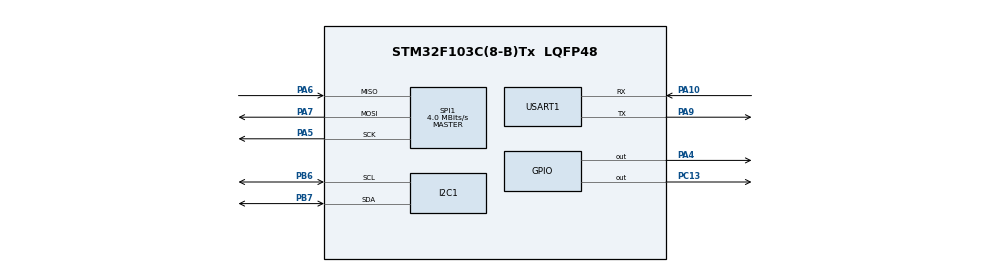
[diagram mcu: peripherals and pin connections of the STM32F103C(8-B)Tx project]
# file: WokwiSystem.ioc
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FREERTOS.Mutexes01=i2cmutex,Dynamic,NULL,Available
FREERTOS.Queues01=RawQueue,4,SensorRawData_t,0,Dynamic,NULL,NULL;DisplayQueue,2,DisplayData_t,0,Dynamic,NULL,NULL
FREERTOS.Tasks01=SensorTask,32,256,StartSensorTask,Default,NULL,Dynamic,NULL,NULL;ProcessingTask,24,256,StartProcessingTask,Default,NULL,Dynamic,NULL,NULL;DisplayTask,16,512,StartDisplayTask,Default,NULL,Dynamic,NULL,NULL
FREERTOS.configTOTAL_HEAP_SIZE=8192
FREERTOS.configCHECK_FOR_STACK_OVERFLOW=2
FREERTOS.configUSE_MALLOC_FAILED_HOOK=1
Mcu.Family=STM32F1
Mcu.Name=STM32F103C(8-B)Tx
Mcu.Package=LQFP48
NVIC.PriorityGroup=NVIC_PRIORITYGROUP_4
NVIC.TIM2_IRQn=true\:15\:0\:false\:false\:true\:false\:false\:true\:true
NVIC.TimeBase=TIM2_IRQn
NVIC.TimeBaseIP=TIM2
PA10.Mode=Asynchronous
PA10.Signal=USART1_RX
PA13.Mode=Serial_Wire
PA13.Signal=SYS_JTMS-SWDIO
PA14.Mode=Serial_Wire
PA14.Signal=SYS_JTCK-SWCLK
PA4.PinState=GPIO_PIN_SET
PA4.Signal=GPIO_Output
PA5.Mode=Full_Duplex_Master
PA5.Signal=SPI1_SCK
PA6.Mode=Full_Duplex_Master
PA6.Signal=SPI1_MISO
PA7.Mode=Full_Duplex_Master
PA7.Signal=SPI1_MOSI
PA9.Mode=Asynchronous
PA9.Signal=USART1_TX
PB6.Mode=I2C
PB6.Signal=I2C1_SCL
PB7.Mode=I2C
PB7.Signal=I2C1_SDA
PC13-TAMPER-RTC.PinState=GPIO_PIN_SET
PC13-TAMPER-RTC.Signal=GPIO_Output
ProjectManager.HeapSize=0x200
ProjectManager.StackSize=0x400
ProjectManager.TargetToolchain=CMake
RCC.APB1Freq_Value=8000000
RCC.APB2Freq_Value=8000000
SPI1.CalculateBaudRate=4.0 MBits/s
SPI1.Direction=SPI_DIRECTION_2LINES
SPI1.Mode=SPI_MODE_MASTER
SPI1.VirtualType=VM_MASTER
USART1.VirtualMode=VM_ASYNC
VP_FREERTOS_VS_CMSIS_V2.Mode=CMSIS_V2
VP_SYS_VS_tim2.Mode=TIM2
board=custom

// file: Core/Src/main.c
/* USER CODE BEGIN Header */
/**
  ******************************************************************************
  * @file           : main.c
  * @brief          : Main program body
  ******************************************************************************
  * @attention
  *
  * Copyright (c) 2026 STMicroelectronics.
  * All rights reserved.
  *
  * This software is licensed under terms that can be found in the LICENSE file
  * in the root directory of this software component.
  * If no LICENSE file comes with this software, it is provided AS-IS.
  *
  ******************************************************************************
  */
/* USER CODE END Header */
#include "main.h"
#include "cmsis_os.h"

/* USER CODE BEGIN Includes */
#include "app_tasks.h"
#include "app_types.h"
/* USER CODE END Includes */

/* USER CODE BEGIN PD */
/* WOKWI_ENABLED comes from CMake so the FreeRTOS port sees the same setting. */
/* USER CODE END PD */

I2C_HandleTypeDef hi2c1;

SPI_HandleTypeDef hspi1;

UART_HandleTypeDef huart1;

/* Definitions for SensorTask */
osThreadId_t SensorTaskHandle;
const osThreadAttr_t SensorTask_attributes = {
  .name = "SensorTask",
  .stack_size = 256 * 4,
  .priority = (osPriority_t) osPriorityAboveNormal,
};
/* Definitions for ProcessingTask */
osThreadId_t ProcessingTaskHandle;
const osThreadAttr_t ProcessingTask_attributes = {
  .name = "ProcessingTask",
  .stack_size = 256 * 4,
  .priority = (osPriority_t) osPriorityNormal,
};
/* Definitions for DisplayTask */
osThreadId_t DisplayTaskHandle;
const osThreadAttr_t DisplayTask_attributes = {
  .name = "DisplayTask",
  .stack_size = 512 * 4,
  .priority = (osPriority_t) osPriorityBelowNormal,
};
/* Definitions for RawQueue */
osMessageQueueId_t RawQueueHandle;
const osMessageQueueAttr_t RawQueue_attributes = {
  .name = "RawQueue"
};
/* Definitions for DisplayQueue */
osMessageQueueId_t DisplayQueueHandle;
const osMessageQueueAttr_t DisplayQueue_attributes = {
  .name = "DisplayQueue"
};
/* Definitions for i2cmutex */
osMutexId_t i2cmutexHandle;
const osMutexAttr_t i2cmutex_attributes = {
  .name = "i2cmutex"
};

void SystemClock_Config(void);
static void MX_GPIO_Init(void);
static void MX_I2C1_Init(void);
static void MX_SPI1_Init(void);
static void MX_USART1_UART_Init(void);
void StartSensorTask(void *argument);
void StartProcessingTask(void *argument);
void StartDisplayTask(void *argument);

int main(void)
{

  /* MCU Configuration--------------------------------------------------------*/

  /* Reset of all peripherals, Initializes the Flash interface and the Systick. */
  HAL_Init();

  /* USER CODE BEGIN Init */

  #ifndef WOKWI_ENABLED
  /* USER CODE END Init */

  /* Configure the system clock */
  SystemClock_Config();

  /* USER CODE BEGIN SysInit */
  #endif
  /* USER CODE END SysInit */

  /* Initialize all configured peripherals */
  MX_GPIO_Init();
  MX_I2C1_Init();
  MX_SPI1_Init();
  MX_USART1_UART_Init();
  /* USER CODE BEGIN 2 */
  /* Sensor/display initialization belongs to their tasks, after kernel start. */

  /* USER CODE END 2 */

  /* Init scheduler */
  osKernelInitialize();
  /* Create the mutex(es) */
  /* creation of i2cmutex */
  i2cmutexHandle = osMutexNew(&i2cmutex_attributes);

  /* USER CODE BEGIN RTOS_MUTEX */
  if (osKernelGetState() != osKernelReady) { app_panic(APP_FAULT_KERNEL); }
  if (i2cmutexHandle == NULL) { app_panic(APP_FAULT_OBJECT); }
  /* The CMSIS FreeRTOS wrapper creates a priority-inheriting mutex. */
  /* USER CODE END RTOS_MUTEX */

  /* Create the queue(s) */
  /* creation of RawQueue */
  RawQueueHandle = osMessageQueueNew (4, sizeof(SensorRawData_t), &RawQueue_attributes);

  /* creation of DisplayQueue */
  DisplayQueueHandle = osMessageQueueNew (2, sizeof(DisplayData_t), &DisplayQueue_attributes);

  /* USER CODE BEGIN RTOS_QUEUES */
  if (RawQueueHandle == NULL || DisplayQueueHandle == NULL) {
    app_panic(APP_FAULT_OBJECT);
  }
  /* USER CODE END RTOS_QUEUES */

  /* Create the thread(s) */
  /* creation of SensorTask */
  SensorTaskHandle = osThreadNew(StartSensorTask, NULL, &SensorTask_attributes);

  /* creation of ProcessingTask */
  ProcessingTaskHandle = osThreadNew(StartProcessingTask, NULL, &ProcessingTask_attributes);

  /* creation of DisplayTask */
  DisplayTaskHandle = osThreadNew(StartDisplayTask, NULL, &DisplayTask_attributes);

  /* USER CODE BEGIN RTOS_THREADS */
  if (SensorTaskHandle == NULL || ProcessingTaskHandle == NULL ||
      DisplayTaskHandle == NULL) { app_panic(APP_FAULT_OBJECT); }
  /* USER CODE END RTOS_THREADS */

  /* Start scheduler */
  osKernelStart();

  /* We should never get here as control is now taken by the scheduler */

  /* Infinite loop */
  /* USER CODE BEGIN WHILE */
  app_panic(APP_FAULT_KERNEL); /* osKernelStart must not return. */
  while (1)
  {
    /* USER CODE END WHILE */

  }
}

void SystemClock_Config(void)
{
  RCC_OscInitTypeDef RCC_OscInitStruct = {0};
  RCC_ClkInitTypeDef RCC_ClkInitStruct = {0};

  /** Initializes the RCC Oscillators according to the specified parameters
  * in the RCC_OscInitTypeDef structure.
  */
  RCC_OscInitStruct.OscillatorType = RCC_OSCILLATORTYPE_HSI;
  RCC_OscInitStruct.HSIState = RCC_HSI_ON;
  RCC_OscInitStruct.HSICalibrationValue = RCC_HSICALIBRATION_DEFAULT;
  RCC_OscInitStruct.PLL.PLLState = RCC_PLL_NONE;
  if (HAL_RCC_OscConfig(&RCC_OscInitStruct) != HAL_OK)
  {
    Error_Handler();
  }

  /** Initializes the CPU, AHB and APB buses clocks
  */
  RCC_ClkInitStruct.ClockType = RCC_CLOCKTYPE_HCLK|RCC_CLOCKTYPE_SYSCLK
                              |RCC_CLOCKTYPE_PCLK1|RCC_CLOCKTYPE_PCLK2;
  RCC_ClkInitStruct.SYSCLKSource = RCC_SYSCLKSOURCE_HSI;
  RCC_ClkInitStruct.AHBCLKDivider = RCC_SYSCLK_DIV1;
  RCC_ClkInitStruct.APB1CLKDivider = RCC_HCLK_DIV1;
  RCC_ClkInitStruct.APB2CLKDivider = RCC_HCLK_DIV1;

  if (HAL_RCC_ClockConfig(&RCC_ClkInitStruct, FLASH_LATENCY_0) != HAL_OK)
  {
    Error_Handler();
  }
}

static void MX_I2C1_Init(void)
{

  /* USER CODE BEGIN I2C1_Init 0 */
#if defined(WOKWI_ENABLED)
  return; /* GPIO-I2C is initialized by SensorTask; leave I2C1 disabled. */
#endif
  /* USER CODE END I2C1_Init 0 */

  hi2c1.Instance = I2C1;
  hi2c1.Init.ClockSpeed = 100000;
  hi2c1.Init.DutyCycle = I2C_DUTYCYCLE_2;
  hi2c1.Init.OwnAddress1 = 0;
  hi2c1.Init.AddressingMode = I2C_ADDRESSINGMODE_7BIT;
  hi2c1.Init.DualAddressMode = I2C_DUALADDRESS_DISABLE;
  hi2c1.Init.OwnAddress2 = 0;
  hi2c1.Init.GeneralCallMode = I2C_GENERALCALL_DISABLE;
  hi2c1.Init.NoStretchMode = I2C_NOSTRETCH_DISABLE;
  if (HAL_I2C_Init(&hi2c1) != HAL_OK)
  {
    Error_Handler();
  }

}

static void MX_SPI1_Init(void)
{

  /* USER CODE BEGIN SPI1_Init 0 */
#if defined(WOKWI_ENABLED)
  return; /* GPIO-SPI is initialized by SensorTask; leave SPI1 disabled. */
#endif
  /* USER CODE END SPI1_Init 0 */

  /* SPI1 parameter configuration*/
  hspi1.Instance = SPI1;
  hspi1.Init.Mode = SPI_MODE_MASTER;
  hspi1.Init.Direction = SPI_DIRECTION_2LINES;
  hspi1.Init.DataSize = SPI_DATASIZE_8BIT;
  hspi1.Init.CLKPolarity = SPI_POLARITY_LOW;
  hspi1.Init.CLKPhase = SPI_PHASE_1EDGE;
  hspi1.Init.NSS = SPI_NSS_SOFT;
  hspi1.Init.BaudRatePrescaler = SPI_BAUDRATEPRESCALER_2;
  hspi1.Init.FirstBit = SPI_FIRSTBIT_MSB;
  hspi1.Init.TIMode = SPI_TIMODE_DISABLE;
  hspi1.Init.CRCCalculation = SPI_CRCCALCULATION_DISABLE;
  hspi1.Init.CRCPolynomial = 10;
  if (HAL_SPI_Init(&hspi1) != HAL_OK)
  {
    Error_Handler();
  }

}

static void MX_USART1_UART_Init(void)
{

  huart1.Instance = USART1;
  huart1.Init.BaudRate = 115200;
  huart1.Init.WordLength = UART_WORDLENGTH_8B;
  huart1.Init.StopBits = UART_STOPBITS_1;
  huart1.Init.Parity = UART_PARITY_NONE;
  huart1.Init.Mode = UART_MODE_TX_RX;
  huart1.Init.HwFlowCtl = UART_HWCONTROL_NONE;
  huart1.Init.OverSampling = UART_OVERSAMPLING_16;
  if (HAL_UART_Init(&huart1) != HAL_OK)
  {
    Error_Handler();
  }

}

static void MX_GPIO_Init(void)
{
  GPIO_InitTypeDef GPIO_InitStruct = {0};

  /* GPIO Ports Clock Enable */
  __HAL_RCC_GPIOC_CLK_ENABLE();
  __HAL_RCC_GPIOA_CLK_ENABLE();
  __HAL_RCC_GPIOB_CLK_ENABLE();

  /*Configure GPIO pin Output Level */
  HAL_GPIO_WritePin(GPIOC, GPIO_PIN_13, GPIO_PIN_SET);

  /*Configure GPIO pin Output Level */
  HAL_GPIO_WritePin(GPIOA, GPIO_PIN_4, GPIO_PIN_SET);

  /*Configure GPIO pin : PC13 */
  GPIO_InitStruct.Pin = GPIO_PIN_13;
  GPIO_InitStruct.Mode = GPIO_MODE_OUTPUT_PP;
  GPIO_InitStruct.Pull = GPIO_NOPULL;
  GPIO_InitStruct.Speed = GPIO_SPEED_FREQ_LOW;
  HAL_GPIO_Init(GPIOC, &GPIO_InitStruct);

  /*Configure GPIO pin : PA4 */
  GPIO_InitStruct.Pin = GPIO_PIN_4;
  GPIO_InitStruct.Mode = GPIO_MODE_OUTPUT_PP;
  GPIO_InitStruct.Pull = GPIO_NOPULL;
  GPIO_InitStruct.Speed = GPIO_SPEED_FREQ_LOW;
  HAL_GPIO_Init(GPIOA, &GPIO_InitStruct);

}

void StartSensorTask(void *argument)
{
  /* USER CODE BEGIN 5 */
  (void)argument;
  app_sensor_task();
  /* USER CODE END 5 */
}

void StartProcessingTask(void *argument)
{
  /* USER CODE BEGIN StartProcessingTask */
  (void)argument;
  app_processing_task();
  /* USER CODE END StartProcessingTask */
}

void StartDisplayTask(void *argument)
{
  /* USER CODE BEGIN StartDisplayTask */
  (void)argument;
  app_display_task();
  /* USER CODE END StartDisplayTask */
}

void HAL_TIM_PeriodElapsedCallback(TIM_HandleTypeDef *htim)
{
  if (htim->Instance == TIM2)
  {
    HAL_IncTick();
  }
}

void Error_Handler(void)
{
  /* USER CODE BEGIN Error_Handler_Debug */
  app_panic(APP_FAULT_HAL);
  /* USER CODE END Error_Handler_Debug */
}
